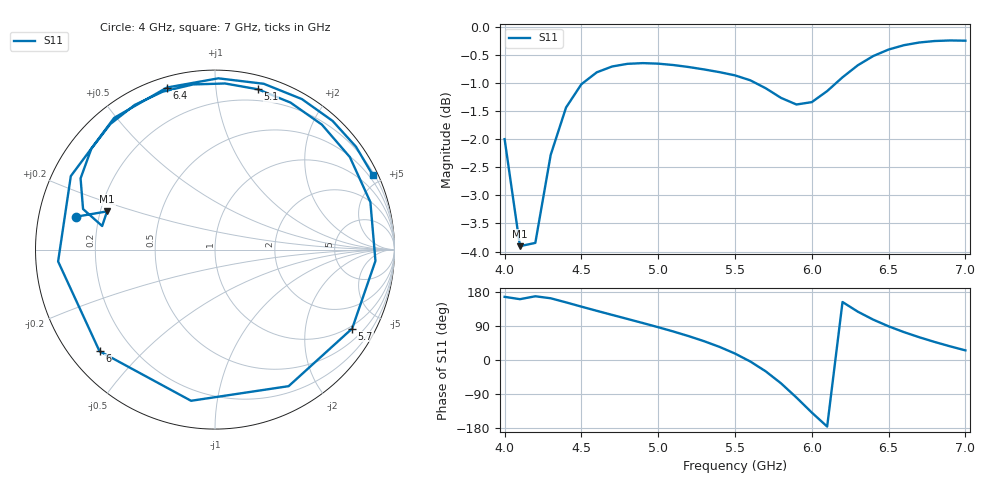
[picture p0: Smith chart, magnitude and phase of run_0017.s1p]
! Touchstone file exported from HFSS 2024.2.0
!  File:  C:/Users/wsak9/Desktop/Sim Fast/Widenad Patch/WP_AI_V1_sweep.aedt
!  Generated:  03:26:57 PM Oct 13, 2026
!  Design:  A1_model
!  Project:  WP_AI_V1_sweep
!  Setup:  Setup1
!  Solution:  Sweep
! Variables:
!  Air_gap = 4mm
!  Curve_Amp1 = 2.16
!  Curve_len1 = 1
!  Curve_pos = 13.28mm
!  Extra = 5.57mm
!  H_sub = 0.79mm
!  L_Patch = 22.56mm
!  L_Patch1 = 18.34mm
!  Sx = 2.94mm
!  Sy = 4.42mm
!  WS = 0.35mm
!  W_Patch = 21.13mm
!  W_Patch1 = 12.77mm
!Data is not renormalized
# GHz S MA
! Terminal data exported
! Port[1] = 1
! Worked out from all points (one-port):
!   31 points, 4 GHz to 7 GHz, reference per port
!   lowest |S11| = -3.9 dB at 4.1 GHz (marker M1), VSWR 4.53
!   |S11| at or under -10 dB: nowhere
!   S11 on the Smith chart (normalised r, x): 4 GHz: 0.12, +0.12; 5.1 GHz: 0.11, +1.30; 5.7 GHz: 0.89, -3.53; 6 GHz: 0.09, -0.37; 6.4 GHz: 0.05, +0.75; 7 GHz: 0.29, +4.41
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4  0.7944 166.7
4.1  0.638 160.5
4.2  0.6423 168.2
4.3  0.7691 162.9
4.4  0.8476 152.1
4.5  0.889 140.8
4.6  0.9109 129.8
4.8  0.9269 108.3
5  0.9272 86.5
5.1  0.9246 75.0
5.2  0.9208 62.8
5.3  0.9162 49.5
5.4  0.9112 34.5
5.5  0.9053 17.0
5.6  0.8961 -4.1
5.7  0.8817 -29.9
5.8  0.8644 -61.7
5.9  0.8528 -99.0
6  0.857 -138.7
6.1  0.8766 -175.7
6.2  0.9017 153.0
6.3  0.9243 127.4
6.4  0.9418 106.5
6.5  0.9545 88.9
6.6  0.963 73.6
6.7  0.9683 60.0
6.8  0.9713 47.6
7  0.9719 25.4
